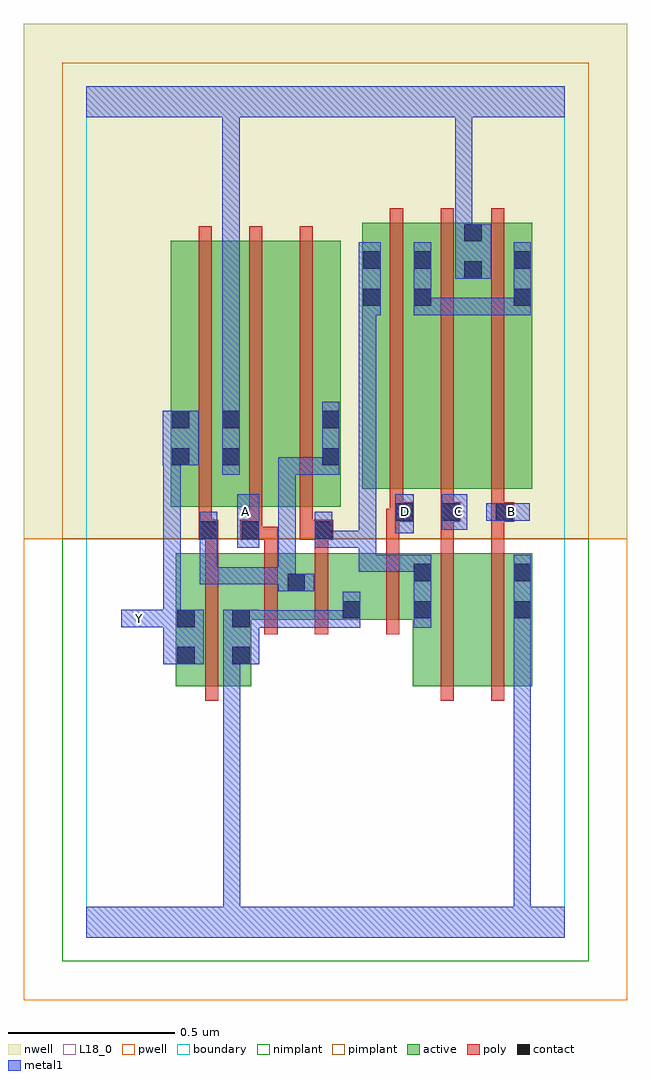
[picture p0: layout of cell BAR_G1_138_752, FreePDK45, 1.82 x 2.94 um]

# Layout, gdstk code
import gdstk
lib = gdstk.Library(unit=1e-6, precision=1e-09)
def R(c, l, rs):  # rectangles x0, y0, x1, y1
    for r in rs: c.add(gdstk.rectangle(r[:2], r[2:], *l))
def A(c, l, x, y, w, h, nx, ny, dx, dy):  # array of equal rectangles
    R(c, l, [(x+i*dx, y+j*dy, x+i*dx+w, y+j*dy+h) for i in range(nx) for j in range(ny)])
active = (1, 0)
pwell = (2, 0)
nwell = (3, 0)
nimplant = (4, 0)
pimplant = (5, 0)
poly = (9, 0)
contact = (10, 0)
metal1 = (11, 0)
L18_0 = (18, 0)
boundary = (235, 0)

bar_g1_138_752 = lib.new_cell('BAR_G1_138_752')
R(bar_g1_138_752, active, [(0.27,0.756,0.33,1.156), (0.27,0.756,0.496,1.156), (0.436,0.756,0.496,1.156), (0.982,0.756,1.042,1.156), (0.982,0.756,1.162,1.156), (1.162,0.756,1.342,1.156), (1.282,0.756,1.342,1.156), (0.436,0.956,0.662,1.156), (0.602,0.956,0.828,1.156), (0.602,0.956,0.662,1.098), (0.768,0.956,1.042,1.156), (0.768,0.956,0.828,1.156), (0.254,1.296,0.466,2.096), (0.254,1.296,0.314,2.044), (0.406,1.296,0.586,2.096), (0.586,1.296,0.766,2.096), (0.706,1.296,0.766,2.044), (0.83,1.35,0.89,2.068), (0.83,1.35,1.042,2.15), (0.982,1.35,1.194,2.15), (1.134,1.35,1.342,2.15), (1.282,1.35,1.342,2.068), (0.982,1.388,1.042,2.15), (0.406,1.416,0.466,2.044), (1.134,1.498,1.194,2.15)])
R(bar_g1_138_752, pwell, [(-0.188,-0.188,1.628,1.2)])
R(bar_g1_138_752, nwell, [(-0.188,1.2,1.628,2.748)])
R(bar_g1_138_752, nimplant, [(-0.072,-0.072,1.512,1.2)])
R(bar_g1_138_752, pimplant, [(-0.072,1.2,1.512,2.632)])
A(bar_g1_138_752, poly, 0.338, 1.216, 0.04, 0.076, 3, 1, 0.152, 0)
A(bar_g1_138_752, poly, 0.338, 1.252, 0.04, 0.888, 3, 1, 0.152, 0)
A(bar_g1_138_752, poly, 0.914, 1.27, 0.04, 0.076, 3, 1, 0.152, 0)
A(bar_g1_138_752, poly, 0.914, 1.306, 0.04, 0.888, 3, 1, 0.152, 0)
R(bar_g1_138_752, poly, [(0.358,0.712,0.398,1.2), (1.066,0.712,1.106,1.2), (1.218,0.712,1.258,1.2), (0.536,0.912,0.576,1.2), (0.688,0.912,0.728,1.2), (0.902,0.912,0.942,1.2), (0.358,1.16,0.398,1.236), (0.536,1.16,0.576,1.236), (0.688,1.16,0.728,1.236), (0.902,1.16,0.942,1.29), (1.066,1.16,1.106,1.29), (1.218,1.16,1.258,1.29), (0.338,1.196,0.398,1.256), (0.464,1.196,0.53,1.256), (0.49,1.196,0.53,1.236), (0.49,1.196,0.576,1.236), (0.642,1.196,0.744,1.256), (0.688,1.196,0.728,1.236), (0.688,1.196,0.728,1.236), (0.338,1.216,0.378,1.256), (0.338,1.216,0.378,1.256), (0.902,1.25,0.954,1.29), (0.914,1.25,0.954,1.29), (0.914,1.25,0.986,1.31), (1.066,1.25,1.106,1.29), (1.066,1.25,1.106,1.29), (1.066,1.25,1.126,1.31), (1.218,1.25,1.288,1.31), (1.218,1.27,1.258,1.31), (1.218,1.27,1.258,1.31)])
R(bar_g1_138_752, contact, [(0.274,0.822,0.326,0.874), (0.44,0.822,0.492,0.874), (0.274,0.934,0.326,0.986), (0.44,0.934,0.492,0.986), (0.772,0.96,0.824,1.012), (0.986,0.96,1.038,1.012), (1.286,0.96,1.338,1.012), (0.606,1.042,0.658,1.094), (0.986,1.072,1.038,1.124), (1.286,1.072,1.338,1.124), (0.342,1.2,0.394,1.252), (0.468,1.2,0.52,1.252), (0.688,1.2,0.74,1.252), (0.93,1.254,0.982,1.306), (1.07,1.254,1.122,1.306), (1.232,1.254,1.284,1.306), (0.258,1.42,0.31,1.472), (0.41,1.42,0.462,1.472), (0.71,1.42,0.762,1.472), (0.258,1.532,0.31,1.584), (0.41,1.532,0.462,1.584), (0.71,1.532,0.762,1.584), (0.834,1.9,0.886,1.952), (0.986,1.9,1.038,1.952), (1.286,1.9,1.338,1.952), (1.138,1.982,1.19,2.034), (0.834,2.012,0.886,2.064), (0.986,2.012,1.038,2.064), (1.286,2.012,1.338,2.064), (1.138,2.094,1.19,2.146)])
R(bar_g1_138_752, metal1, [(0,0,1.44,0.092), (0.412,0.04,0.464,0.092), (0.412,0.04,0.464,0.092), (0.412,0.04,0.464,0.092), (0.412,0.04,0.464,0.092), (0.412,0.04,0.464,0.092), (0.412,0.04,0.464,0.092), (0.412,0.04,0.464,0.092), (0.412,0.04,0.464,0.092), (0.412,0.04,0.464,0.092), (0.412,0.04,0.464,0.092), (0.412,0.04,0.464,0.874), (1.286,0.04,1.338,0.092), (1.286,0.04,1.338,0.092), (1.286,0.04,1.338,0.092), (1.286,0.04,1.338,0.092), (1.286,0.04,1.338,0.092), (1.286,0.04,1.338,0.092), (1.286,0.04,1.338,0.984), (0.232,0.822,0.354,0.986), (0.412,0.822,0.464,0.874), (0.412,0.822,0.464,0.874), (0.412,0.822,0.52,0.986), (0.468,0.932,0.63,0.984), (0.578,0.932,0.63,0.984), (0.578,0.932,0.63,0.984), (0.578,0.932,0.63,0.984), (0.578,0.932,0.63,0.984), (0.578,0.932,0.63,0.984), (0.578,0.932,0.63,0.984), (0.578,0.932,0.63,0.984), (0.578,0.932,0.762,0.984), (0.71,0.932,0.762,0.984), (0.71,0.932,0.824,0.984), (0.772,0.932,0.824,1.04), (0.986,0.932,1.038,1.152), (1.286,0.932,1.338,0.984), (1.286,0.932,1.338,0.984), (1.286,0.932,1.338,0.984), (1.286,0.932,1.338,0.984), (1.286,0.932,1.338,0.984), (1.286,0.932,1.338,0.984), (1.286,0.932,1.338,1.152), (0.106,0.934,0.284,0.986), (0.232,0.934,0.284,0.986), (0.232,0.934,0.284,0.986), (0.232,0.934,0.284,0.986), (0.232,0.934,0.284,1.472), (0.578,1.042,0.686,1.094), (0.578,1.042,0.63,1.114), (0.342,1.062,0.63,1.114), (0.342,1.062,0.394,1.224), (0.578,1.062,0.63,1.114), (0.578,1.062,0.63,1.114), (0.578,1.062,0.63,1.114), (0.578,1.062,0.63,1.444), (0.82,1.1,0.872,1.152), (0.82,1.1,0.928,1.152), (0.82,1.1,0.872,1.224), (0.876,1.1,0.928,1.152), (0.876,1.1,1.038,1.152), (0.986,1.1,1.038,1.152), (0.986,1.1,1.038,1.152), (0.342,1.172,0.394,1.224), (0.342,1.172,0.394,1.28), (0.454,1.172,0.52,1.334), (0.688,1.172,0.74,1.224), (0.688,1.172,0.74,1.224), (0.688,1.172,0.872,1.224), (0.688,1.172,0.74,1.28), (0.82,1.172,0.872,1.224), (0.82,1.172,0.872,1.924), (0.93,1.216,0.986,1.334), (1.07,1.226,1.146,1.334), (1.204,1.254,1.334,1.306), (0.41,1.392,0.462,1.612), (0.578,1.392,0.63,1.444), (0.578,1.392,0.63,1.444), (0.578,1.392,0.63,1.444), (0.578,1.392,0.762,1.444), (0.71,1.392,0.762,1.444), (0.71,1.392,0.762,1.444), (0.71,1.392,0.762,1.612), (0.23,1.42,0.338,1.584), (0.41,1.56,0.462,2.52), (0.82,1.872,0.886,2.092), (0.986,1.872,1.038,1.924), (0.986,1.872,1.038,1.924), (0.986,1.872,1.038,2.092), (0.986,1.872,1.228,1.924), (1.176,1.872,1.228,1.924), (1.176,1.872,1.338,1.924), (1.286,1.872,1.338,1.924), (1.286,1.872,1.338,1.924), (1.286,1.872,1.338,2.092), (1.11,1.982,1.218,2.146), (1.11,2.094,1.162,2.52), (0,2.468,1.44,2.56), (0.41,2.468,0.462,2.52), (0.41,2.468,0.462,2.52), (0.41,2.468,0.462,2.52), (0.41,2.468,0.462,2.52), (0.41,2.468,0.462,2.52), (0.41,2.468,0.462,2.52), (0.41,2.468,0.462,2.52), (0.41,2.468,0.462,2.52), (1.11,2.468,1.162,2.52), (1.11,2.468,1.162,2.52), (1.11,2.468,1.162,2.52), (1.11,2.468,1.162,2.52), (1.11,2.468,1.162,2.52), (1.11,2.468,1.162,2.52), (1.11,2.468,1.162,2.52), (1.11,2.468,1.162,2.52)])
A(bar_g1_138_752, L18_0, 0.934, 1.254, 0.052, 0.052, 3, 1, 0.16, 0)
R(bar_g1_138_752, L18_0, [(0,0,1.44,0.092), (0.412,0.04,0.464,0.092), (0.412,0.04,0.464,0.092), (0.412,0.04,0.464,0.092), (0.412,0.04,0.464,0.092), (0.412,0.04,0.464,0.092), (0.412,0.04,0.464,0.092), (0.412,0.04,0.464,0.092), (0.412,0.04,0.464,0.092), (0.412,0.04,0.464,0.092), (0.412,0.04,0.464,0.092), (0.412,0.04,0.464,0.874), (1.286,0.04,1.338,0.092), (1.286,0.04,1.338,0.092), (1.286,0.04,1.338,0.092), (1.286,0.04,1.338,0.092), (1.286,0.04,1.338,0.092), (1.286,0.04,1.338,0.092), (1.286,0.04,1.338,0.984), (0.232,0.822,0.354,0.986), (0.412,0.822,0.464,0.874), (0.412,0.822,0.464,0.874), (0.412,0.822,0.52,0.986), (0.468,0.932,0.63,0.984), (0.578,0.932,0.63,0.984), (0.578,0.932,0.63,0.984), (0.578,0.932,0.63,0.984), (0.578,0.932,0.63,0.984), (0.578,0.932,0.63,0.984), (0.578,0.932,0.63,0.984), (0.578,0.932,0.63,0.984), (0.578,0.932,0.762,0.984), (0.71,0.932,0.762,0.984), (0.71,0.932,0.824,0.984), (0.772,0.932,0.824,1.04), (1.286,0.932,1.338,0.984), (1.286,0.932,1.338,0.984), (1.286,0.932,1.338,0.984), (1.286,0.932,1.338,0.984), (1.286,0.932,1.338,0.984), (1.286,0.932,1.338,0.984), (1.286,0.932,1.338,1.152), (0.106,0.934,0.284,0.986), (0.134,0.934,0.186,0.986), (0.232,0.934,0.284,0.986), (0.232,0.934,0.284,0.986), (0.232,0.934,0.284,0.986), (0.232,0.934,0.284,1.472), (0.454,1.172,0.52,1.334), (0.93,1.216,0.986,1.334), (1.07,1.226,1.146,1.334), (0.454,1.254,0.506,1.306), (1.204,1.254,1.334,1.306), (0.41,1.392,0.462,1.612), (0.23,1.42,0.338,1.584), (0.41,1.56,0.462,2.52), (1.11,1.982,1.218,2.146), (1.11,2.094,1.162,2.52), (0,2.468,1.44,2.56), (0.41,2.468,0.462,2.52), (0.41,2.468,0.462,2.52), (0.41,2.468,0.462,2.52), (0.41,2.468,0.462,2.52), (0.41,2.468,0.462,2.52), (0.41,2.468,0.462,2.52), (0.41,2.468,0.462,2.52), (0.41,2.468,0.462,2.52), (1.11,2.468,1.162,2.52), (1.11,2.468,1.162,2.52), (1.11,2.468,1.162,2.52), (1.11,2.468,1.162,2.52), (1.11,2.468,1.162,2.52), (1.11,2.468,1.162,2.52), (1.11,2.468,1.162,2.52), (1.11,2.468,1.162,2.52)])
R(bar_g1_138_752, boundary, [(0,0,1.44,2.56)])
bar_g1_138_752.add(gdstk.Label('A', (0.48,1.28), layer=11, texttype=0))
bar_g1_138_752.add(gdstk.Label('B', (1.28,1.28), layer=11, texttype=0))
bar_g1_138_752.add(gdstk.Label('C', (1.12,1.28), layer=11, texttype=0))
bar_g1_138_752.add(gdstk.Label('D', (0.96,1.28), layer=11, texttype=0))
bar_g1_138_752.add(gdstk.Label('Y', (0.16,0.96), layer=11, texttype=0))

lib.write_gds('BAR_G1_138_752.gds')
